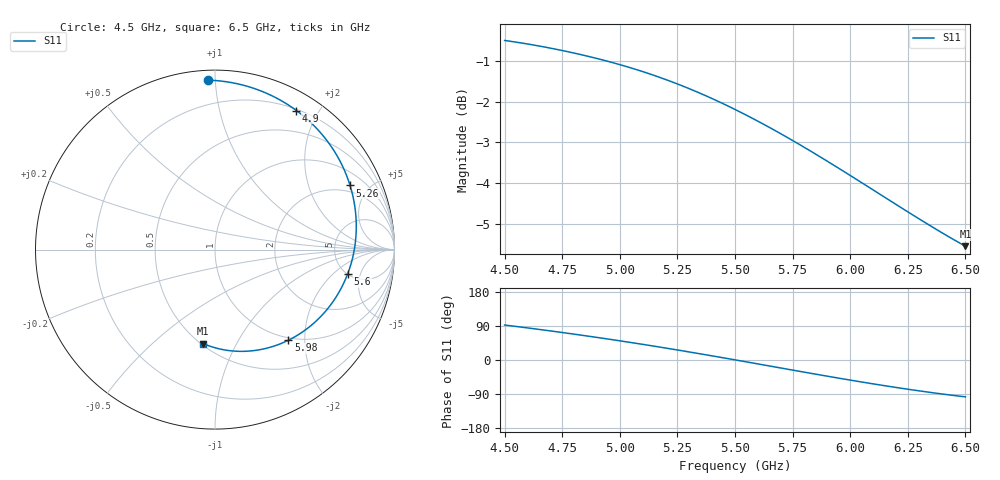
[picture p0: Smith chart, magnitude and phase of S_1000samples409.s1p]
! TOUCHSTONE file generated by CST MICROWAVE STUDIO
! Date and time: Fri Oct 28 01:54:52 2022
! Project name: L.cst
! Parameters = {Di=1.27; Epsilon_r=1.56; InnerDiameter=1.27; Length=2; Lf=10; Lg=60; OuterConductorThickness=0.2921; OuterDiameter=3.6; Wf=3; Wp=41.2; de=1.5; df=6.8; g=0.8; gx=1.74609; gy=4.12604; h=2.34; hf=1.524; px=10.5554; py=8.82646; w=9.7; wx=8.80929; wy=4.70042}
! Header version: 2018
! Port assignment regex: !\s*Touchstone port\s*([0-9]+)\s*=\s*(CST MWS port|CST DS port)\s*([0-9]+|Zmin|Zmax)\s*\(\"(.*)\"\)(\s*mode\s*([0-9]+))?.*
! Touchstone port assignment:
! Touchstone port 1 = CST MWS port 1 ("")
# GHz S DB R 50
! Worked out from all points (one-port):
!   101 points, 4.5 GHz to 6.5 GHz, reference 50 ohm
!   lowest |S11| = -5.6 dB at 6.5 GHz (marker M1), VSWR 3.23, Z = 25.6 - j37.1 ohm
!   |S11| at or under -10 dB: nowhere
!   S11 on the Smith chart (normalised r, x): 4.5 GHz: 0.05, +0.96; 4.9 GHz: 0.22, +1.72; 5.26 GHz: 1.62, +3.78; 5.6 GHz: 5.03, -3.14; 5.98 GHz: 0.96, -1.67; 6.5 GHz: 0.51, -0.74
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4.5  -0.49 92.3
4.58  -0.56 86.2
4.64  -0.62 81.5
4.76  -0.75 71.7
4.84  -0.85 64.9
4.9  -0.94 59.7
5  -1.09 50.6
5.08  -1.22 43.1
5.14  -1.34 37.4
5.2  -1.46 31.4
5.26  -1.59 25.4
5.32  -1.72 19.3
5.38  -1.87 13.1
5.44  -2.03 6.7
5.5  -2.19 0.4
5.6  -2.48 -10.4
5.68  -2.73 -19.1
5.76  -2.99 -27.7
5.82  -3.19 -34.1
5.88  -3.39 -40.5
5.98  -3.74 -51.0
6  -3.82 -53.0
6.06  -4.03 -59.1
6.12  -4.25 -65.0
6.18  -4.46 -70.7
6.26  -4.75 -78.0
6.38  -5.16 -88.2
6.5  -5.56 -97.3
